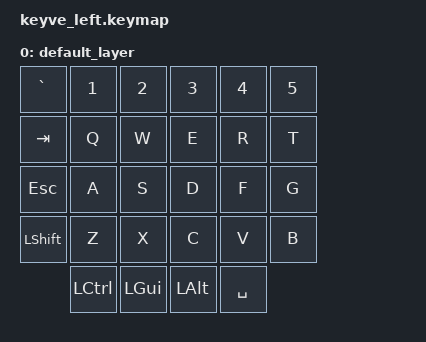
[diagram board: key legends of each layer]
#include <behaviors.dtsi>
#include <dt-bindings/zmk/keys.h>

/ {
    keymap {
        compatible = "zmk,keymap";

        default_layer {
            bindings = <
							&kp GRAVE  &kp N1     &kp N2   &kp N3 &kp N4 &kp N5
        			&kp TAB    &kp Q      &kp W    &kp E  &kp R  &kp T
        			&kp ESC    &kp A      &kp S    &kp D  &kp F  &kp G
        			&kp LSHFT  &kp Z      &kp X    &kp C  &kp V  &kp B
        			&kp LCTRL  &kp LGUI   &kp LALT               &kp SPACE
            >;
        };
    };
};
